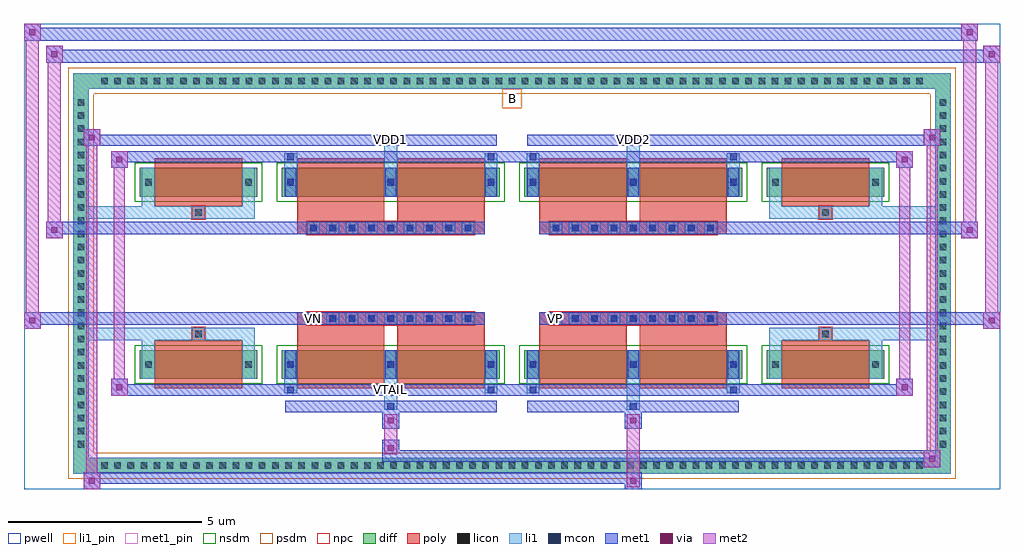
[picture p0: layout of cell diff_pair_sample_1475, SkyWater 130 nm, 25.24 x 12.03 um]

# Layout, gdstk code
import gdstk
lib = gdstk.Library(unit=1e-6, precision=5e-09)
def R(c, l, rs):  # rectangles x0, y0, x1, y1
    for r in rs: c.add(gdstk.rectangle(r[:2], r[2:], *l))
def A(c, l, x, y, w, h, nx, ny, dx, dy):  # array of equal rectangles
    R(c, l, [(x+i*dx, y+j*dy, x+i*dx+w, y+j*dy+h) for i in range(nx) for j in range(ny)])
def P(c, l, *ps):  # polygons
    for p in ps: c.add(gdstk.Polygon(p, *l))
pwell = (64, 44)
diff = (65, 20)
poly = (66, 20)
licon = (66, 44)
li1_pin = (67, 16)
li1 = (67, 20)
mcon = (67, 44)
met1_pin = (68, 16)
met1 = (68, 20)
via = (68, 44)
met2 = (69, 20)
nsdm = (93, 44)
psdm = (94, 20)
npc = (95, 20)

diff_pair_sample_1475 = lib.new_cell('diff_pair_sample_1475')
R(diff_pair_sample_1475, pwell, [(-12.62,-5.58,12.62,6.45), (-9.94,-3.77,-0.01,-0.805), (0.01,-3.77,9.94,-0.805), (-9.94,0.805,-0.01,3.77), (0.01,0.805,9.94,3.77)])
A(diff_pair_sample_1475, diff, -10.745, -5.18, 0.41, 0.41, 63, 2, 0.34, 9.95)
A(diff_pair_sample_1475, diff, -11.35, -4.625, 0.41, 0.41, 1, 27, 0, 0.34)
A(diff_pair_sample_1475, diff, 10.94, -4.625, 0.41, 0.41, 1, 27, 0, 0.34)
R(diff_pair_sample_1475, diff, [(-10.745,-5.18,10.745,-4.77), (-11.35,-4.625,-10.94,4.625), (10.94,-4.625,11.35,4.625), (-9.63,-2.725,-6.59,-1.985), (-5.95,-2.725,-0.32,-1.985), (0.32,-2.725,5.95,-1.985), (6.59,-2.725,9.63,-1.985), (-9.63,1.985,-6.59,2.725), (-5.95,1.985,-0.32,2.725), (0.32,1.985,5.95,2.725), (6.59,1.985,9.63,2.725), (-10.745,4.77,10.745,5.18)])
P(diff_pair_sample_1475, diff, [(11.35,5.18),(-11.35,5.18),(-11.35,-4.77),(-10.94,-4.77),(-10.94,4.77),(10.94,4.77),(10.94,-4.77),(-10.94,-4.77),(-11.35,-4.77),(-11.35,-5.18),(11.35,-5.18)])
A(diff_pair_sample_1475, poly, -5.3, -1.335, 0.33, 0.33, 9, 2, 0.5, 2.34)
A(diff_pair_sample_1475, poly, 0.97, -1.335, 0.33, 0.33, 9, 2, 0.5, 2.34)
R(diff_pair_sample_1475, poly, [(-9.24,-2.975,-6.98,-1.735), (-5.56,-2.975,-3.3,-1.735), (-2.97,-2.975,-0.71,-1.735), (0.71,-2.975,2.97,-1.735), (3.3,-2.975,5.56,-1.735), (6.98,-2.975,9.24,-1.735), (-8.275,-1.735,-7.945,-1.405), (-8.275,-1.735,-7.945,-1.405), (-5.56,-1.735,-3.3,-1.335), (-2.97,-1.735,-0.71,-1.335), (0.71,-1.735,2.97,-1.335), (3.3,-1.735,5.56,-1.335), (7.945,-1.735,8.275,-1.405), (7.945,-1.735,8.275,-1.405), (-5.56,-1.335,-0.71,-1.005), (0.71,-1.335,5.56,-1.005), (-5.56,1.005,-0.71,1.335), (0.71,1.005,5.56,1.335), (-5.56,1.335,-3.3,1.735), (-2.97,1.335,-0.71,1.735), (0.71,1.335,2.97,1.735), (3.3,1.335,5.56,1.735), (-8.275,1.405,-7.945,1.735), (-8.275,1.405,-7.945,1.735), (7.945,1.405,8.275,1.735), (7.945,1.405,8.275,1.735), (-9.24,1.735,-6.98,2.975), (-5.56,1.735,-3.3,2.975), (-2.97,1.735,-0.71,2.975), (0.71,1.735,2.97,2.975), (3.3,1.735,5.56,2.975), (6.98,1.735,9.24,2.975)])
A(diff_pair_sample_1475, licon, -10.625, -5.06, 0.17, 0.17, 63, 2, 0.34, 9.95)
A(diff_pair_sample_1475, licon, -11.23, -4.505, 0.17, 0.17, 1, 27, 0, 0.34)
A(diff_pair_sample_1475, licon, 11.06, -4.505, 0.17, 0.17, 1, 27, 0, 0.34)
A(diff_pair_sample_1475, licon, -5.81, -2.44, 0.17, 0.17, 3, 2, 2.59, 4.71)
A(diff_pair_sample_1475, licon, 0.46, -2.44, 0.17, 0.17, 3, 2, 2.59, 4.71)
A(diff_pair_sample_1475, licon, -5.22, -1.255, 0.17, 0.17, 9, 2, 0.5, 2.34)
A(diff_pair_sample_1475, licon, 1.05, -1.255, 0.17, 0.17, 9, 2, 0.5, 2.34)
R(diff_pair_sample_1475, licon, [(-9.49,-2.44,-9.32,-2.27), (-6.9,-2.44,-6.73,-2.27), (6.73,-2.44,6.9,-2.27), (9.32,-2.44,9.49,-2.27), (-8.195,-1.655,-8.025,-1.485), (8.025,-1.655,8.195,-1.485), (-8.195,1.485,-8.025,1.655), (8.025,1.485,8.195,1.655), (-9.49,2.27,-9.32,2.44), (-6.9,2.27,-6.73,2.44), (6.73,2.27,6.9,2.44), (9.32,2.27,9.49,2.44)])
R(diff_pair_sample_1475, li1_pin, [(-0.25,4.27,0.25,4.77)])
A(diff_pair_sample_1475, li1, -10.705, -5.14, 0.33, 0.33, 63, 2, 0.34, 9.95)
A(diff_pair_sample_1475, li1, -11.31, -4.585, 0.33, 0.33, 1, 27, 0, 0.34)
A(diff_pair_sample_1475, li1, 10.98, -4.585, 0.33, 0.33, 1, 27, 0, 0.34)
A(diff_pair_sample_1475, li1, -5.89, -2.725, 0.33, 0.74, 3, 2, 2.59, 4.71)
A(diff_pair_sample_1475, li1, 0.38, -2.725, 0.33, 0.74, 3, 2, 2.59, 4.71)
A(diff_pair_sample_1475, li1, -5.89, -2.52, 0.33, 0.33, 3, 2, 2.59, 4.71)
A(diff_pair_sample_1475, li1, 0.38, -2.52, 0.33, 0.33, 3, 2, 2.59, 4.71)
A(diff_pair_sample_1475, li1, -5.3, -1.335, 0.33, 0.33, 9, 2, 0.5, 2.34)
A(diff_pair_sample_1475, li1, 0.97, -1.335, 0.33, 0.33, 9, 2, 0.5, 2.34)
R(diff_pair_sample_1475, li1, [(-11.35,-5.18,-10.94,-4.77), (-11.35,-5.18,-10.94,-4.77), (-10.94,-5.18,10.94,-4.77), (10.94,-5.18,11.35,-4.77), (10.94,-5.18,11.35,-4.77), (-11.35,-4.77,-10.94,4.77), (10.94,-4.77,11.35,4.77), (-3.3,-3.53,-2.97,-2.725), (-3.22,-3.53,-3.05,-3.36), (2.97,-3.53,3.3,-2.725), (3.05,-3.53,3.22,-3.36), (-5.89,-3.1,-5.56,-2.725), (-5.81,-3.1,-5.64,-2.93), (-0.71,-3.1,-0.38,-2.725), (-0.63,-3.1,-0.46,-2.93), (0.38,-3.1,0.71,-2.725), (0.46,-3.1,0.63,-2.93), (5.56,-3.1,5.89,-2.725), (5.64,-3.1,5.81,-2.93), (-9.57,-2.725,-9.24,-1.985), (-6.98,-2.725,-6.65,-1.985), (6.65,-2.725,6.98,-1.985), (9.24,-2.725,9.57,-1.985), (-9.57,-2.52,-9.24,-2.19), (-6.98,-2.52,-6.65,-2.19), (6.65,-2.52,6.98,-2.19), (9.24,-2.52,9.57,-2.19), (-5.81,-2.44,-5.64,-2.27), (-5.81,-2.44,-5.64,-2.27), (-3.22,-2.44,-3.05,-2.27), (-3.22,-2.44,-3.05,-2.27), (-0.63,-2.44,-0.46,-2.27), (-0.63,-2.44,-0.46,-2.27), (0.46,-2.44,0.63,-2.27), (0.46,-2.44,0.63,-2.27), (3.05,-2.44,3.22,-2.27), (3.05,-2.44,3.22,-2.27), (5.64,-2.44,5.81,-2.27), (5.64,-2.44,5.81,-2.27), (-9.57,-1.985,-9.24,-1.405), (-6.98,-1.985,-6.65,-1.405), (6.65,-1.985,6.98,-1.405), (9.24,-1.985,9.57,-1.405), (-11.35,-1.735,-8.275,-1.405), (-9.57,-1.735,-8.275,-1.405), (-8.275,-1.735,-7.945,-1.405), (-7.945,-1.735,-6.65,-1.405), (6.65,-1.735,7.945,-1.405), (7.945,-1.735,8.275,-1.405), (7.945,-1.735,11.35,-1.405), (8.275,-1.735,9.57,-1.405), (-11.35,1.405,-8.275,1.735), (-9.57,1.405,-8.275,1.735), (-9.57,1.405,-9.24,1.985), (-8.275,1.405,-7.945,1.735), (-7.945,1.405,-6.65,1.735), (-6.98,1.405,-6.65,1.985), (6.65,1.405,7.945,1.735), (6.65,1.405,6.98,1.985), (7.945,1.405,8.275,1.735), (7.945,1.405,11.35,1.735), (8.275,1.405,9.57,1.735), (9.24,1.405,9.57,1.985), (-9.57,1.985,-9.24,2.725), (-6.98,1.985,-6.65,2.725), (6.65,1.985,6.98,2.725), (9.24,1.985,9.57,2.725), (-9.57,2.19,-9.24,2.52), (-6.98,2.19,-6.65,2.52), (6.65,2.19,6.98,2.52), (9.24,2.19,9.57,2.52), (-5.81,2.27,-5.64,2.44), (-5.81,2.27,-5.64,2.44), (-3.22,2.27,-3.05,2.44), (-3.22,2.27,-3.05,2.44), (-0.63,2.27,-0.46,2.44), (-0.63,2.27,-0.46,2.44), (0.46,2.27,0.63,2.44), (0.46,2.27,0.63,2.44), (3.05,2.27,3.22,2.44), (3.05,2.27,3.22,2.44), (5.64,2.27,5.81,2.44), (5.64,2.27,5.81,2.44), (-5.89,2.725,-5.56,3.1), (-3.3,2.725,-2.97,3.53), (-0.71,2.725,-0.38,3.1), (0.38,2.725,0.71,3.1), (2.97,2.725,3.3,3.53), (5.56,2.725,5.89,3.1), (-5.81,2.93,-5.64,3.1), (-0.63,2.93,-0.46,3.1), (0.46,2.93,0.63,3.1), (5.64,2.93,5.81,3.1), (-3.22,3.36,-3.05,3.53), (3.05,3.36,3.22,3.53), (-11.35,4.77,-10.94,5.18), (-11.35,4.77,-10.94,5.18), (-10.94,4.77,10.94,5.18), (10.94,4.77,11.35,5.18), (10.94,4.77,11.35,5.18)])
A(diff_pair_sample_1475, mcon, -5.81, -2.44, 0.17, 0.17, 3, 2, 2.59, 4.71)
A(diff_pair_sample_1475, mcon, 0.46, -2.44, 0.17, 0.17, 3, 2, 2.59, 4.71)
A(diff_pair_sample_1475, mcon, -5.22, -1.255, 0.17, 0.17, 9, 2, 0.5, 2.34)
A(diff_pair_sample_1475, mcon, 1.05, -1.255, 0.17, 0.17, 9, 2, 0.5, 2.34)
R(diff_pair_sample_1475, mcon, [(-3.22,-3.53,-3.05,-3.36), (3.05,-3.53,3.22,-3.36), (-5.81,-3.1,-5.64,-2.93), (-0.63,-3.1,-0.46,-2.93), (0.46,-3.1,0.63,-2.93), (5.64,-3.1,5.81,-2.93), (-5.81,2.93,-5.64,3.1), (-0.63,2.93,-0.46,3.1), (0.46,2.93,0.63,3.1), (5.64,2.93,5.81,3.1), (-3.22,3.36,-3.05,3.53), (3.05,3.36,3.22,3.53)])
R(diff_pair_sample_1475, met1_pin, [(-3.27,-3.14,-3,-2.87), (-5.27,-1.295,-5,-1.025), (1,-1.295,1.27,-1.025), (-3.27,3.32,-3,3.59), (3,3.32,3.27,3.59)])
A(diff_pair_sample_1475, met1, -5.87, -2.725, 0.29, 0.74, 3, 2, 2.59, 4.71)
A(diff_pair_sample_1475, met1, 0.4, -2.725, 0.29, 0.74, 3, 2, 2.59, 4.71)
A(diff_pair_sample_1475, met1, -5.87, -2.5, 0.29, 0.29, 3, 2, 2.59, 4.71)
A(diff_pair_sample_1475, met1, 0.4, -2.5, 0.29, 0.29, 3, 2, 2.59, 4.71)
A(diff_pair_sample_1475, met1, -5.28, -1.315, 0.29, 0.29, 9, 2, 0.5, 2.34)
A(diff_pair_sample_1475, met1, 0.99, -1.315, 0.29, 0.29, 9, 2, 0.5, 2.34)
R(diff_pair_sample_1475, met1, [(-11.08,-5.58,-10.65,-5.15), (2.92,-5.58,3.35,-5.15), (-11.08,-5.44,3.35,-5.15), (10.65,-5.01,11.08,-4.58), (-3.35,-4.87,11.08,-4.58), (-3.35,-4.73,-2.92,-4.3), (-3.35,-4.02,-2.92,-3.59), (2.92,-4.02,3.35,-3.59), (-5.87,-3.59,-0.4,-3.3), (-3.28,-3.59,-2.99,-3.3), (0.4,-3.59,5.87,-3.3), (2.99,-3.59,3.28,-3.3), (-10.37,-3.16,-9.94,-2.73), (-10.37,-3.16,-5.87,-2.87), (-5.87,-3.16,-5.58,-2.87), (-5.87,-3.16,-0.4,-2.87), (-0.69,-3.16,-0.4,-2.87), (-0.4,-3.16,0.4,-2.87), (0.4,-3.16,0.69,-2.87), (0.4,-3.16,5.87,-2.87), (5.58,-3.16,5.87,-2.87), (5.87,-3.16,10.37,-2.87), (9.94,-3.16,10.37,-2.73), (-12.62,-1.435,-12.19,-1.005), (12.19,-1.435,12.62,-1.005), (-12.62,-1.335,-0.71,-1.005), (-5.56,-1.335,-0.71,-1.005), (0.71,-1.335,5.56,-1.005), (0.71,-1.335,12.62,-1.005), (-12.05,0.905,-11.62,1.335), (11.62,0.905,12.05,1.335), (-12.05,1.005,-5.56,1.335), (-5.56,1.005,-0.71,1.335), (0.71,1.005,5.56,1.335), (5.56,1.005,12.05,1.335), (-10.37,2.73,-9.94,3.16), (9.94,2.73,10.37,3.16), (-10.37,2.87,-5.87,3.16), (-5.87,2.87,-5.58,3.16), (-5.87,2.87,-0.4,3.16), (-0.69,2.87,-0.4,3.16), (-0.4,2.87,0.4,3.16), (0.4,2.87,0.69,3.16), (0.4,2.87,5.87,3.16), (5.58,2.87,5.87,3.16), (5.87,2.87,10.37,3.16), (-11.08,3.3,-10.65,3.73), (-11.08,3.3,-5.87,3.59), (-5.87,3.3,-0.4,3.59), (-3.28,3.3,-2.99,3.59), (0.4,3.3,5.87,3.59), (2.99,3.3,3.28,3.59), (5.87,3.3,11.08,3.59), (10.65,3.3,11.08,3.73), (-12.05,5.45,-11.62,5.88), (-12.05,5.45,-9.94,5.78), (-9.94,5.45,9.94,5.78), (9.94,5.45,12.62,5.78), (12.19,5.45,12.62,5.88), (-12.62,6.02,-12.19,6.45), (-12.62,6.02,-9.94,6.35), (-9.94,6.02,9.94,6.35), (9.94,6.02,12.05,6.35), (11.62,6.02,12.05,6.45)])
R(diff_pair_sample_1475, via, [(-10.94,-5.44,-10.79,-5.29), (3.06,-5.44,3.21,-5.29), (10.79,-4.87,10.94,-4.72), (-3.21,-4.59,-3.06,-4.44), (-3.21,-3.88,-3.06,-3.73), (3.06,-3.88,3.21,-3.73), (-10.23,-3.02,-10.08,-2.87), (10.08,-3.02,10.23,-2.87), (-12.48,-1.295,-12.33,-1.145), (12.33,-1.295,12.48,-1.145), (-11.91,1.045,-11.76,1.195), (11.76,1.045,11.91,1.195), (-10.23,2.87,-10.08,3.02), (10.08,2.87,10.23,3.02), (-10.94,3.44,-10.79,3.59), (10.79,3.44,10.94,3.59), (-11.91,5.59,-11.76,5.74), (12.33,5.59,12.48,5.74), (-12.48,6.16,-12.33,6.31), (11.76,6.16,11.91,6.31)])
R(diff_pair_sample_1475, met2, [(-11.08,-5.58,-10.65,-5.15), (-11.01,-5.58,-10.72,3.73), (-10.72,-5.58,-10.65,-5.15), (-11.03,-5.53,-10.7,-5.2), (2.97,-5.53,3.3,-5.2), (2.97,-5.2,3.3,-3.97), (10.65,-5.01,11.08,-4.58), (10.72,-5.01,11.01,3.73), (11.01,-5.01,11.08,-4.58), (10.7,-4.96,11.03,-4.63), (-3.3,-4.68,-2.97,-4.35), (-3.3,-4.35,-2.97,-3.97), (-3.3,-3.97,-2.97,-3.64), (2.97,-3.97,3.3,-3.64), (-10.37,-3.16,-9.94,-2.73), (-10.3,-3.16,-10.01,3.16), (-10.01,-3.16,-9.94,-2.73), (9.94,-3.16,10.37,-2.73), (10.01,-3.16,10.3,3.16), (10.3,-3.16,10.37,-2.73), (-10.32,-3.11,-9.99,-2.78), (9.99,-3.11,10.32,-2.78), (-12.62,-1.435,-12.19,-1.005), (-12.57,-1.435,-12.24,6.45), (-12.24,-1.435,-12.19,-1.005), (12.19,-1.435,12.62,-1.005), (12.24,-1.435,12.57,5.88), (12.57,-1.435,12.62,-1.005), (-12.57,-1.385,-12.24,-1.055), (12.24,-1.385,12.57,-1.055), (-12.05,0.905,-11.62,1.335), (-12,0.905,-11.67,5.88), (-11.67,0.905,-11.62,1.335), (11.62,0.905,12.05,1.335), (11.67,0.905,12,6.45), (12,0.905,12.05,1.335), (-12,0.955,-11.67,1.285), (11.67,0.955,12,1.285), (-10.37,2.73,-9.94,3.16), (-10.01,2.73,-9.94,3.16), (9.94,2.73,10.37,3.16), (10.3,2.73,10.37,3.16), (-10.32,2.78,-9.99,3.11), (9.99,2.78,10.32,3.11), (-11.08,3.3,-10.65,3.73), (-10.72,3.3,-10.65,3.73), (10.65,3.3,11.08,3.73), (11.01,3.3,11.08,3.73), (-11.03,3.35,-10.7,3.68), (10.7,3.35,11.03,3.68), (-12.05,5.45,-11.62,5.88), (-11.67,5.45,-11.62,5.88), (12.19,5.45,12.62,5.88), (12.57,5.45,12.62,5.88), (-12,5.5,-11.67,5.83), (12.24,5.5,12.57,5.83), (-12.62,6.02,-12.19,6.45), (-12.24,6.02,-12.19,6.45), (11.62,6.02,12.05,6.45), (12,6.02,12.05,6.45), (-12.57,6.07,-12.24,6.4), (11.67,6.07,12,6.4)])
R(diff_pair_sample_1475, nsdm, [(-9.76,-2.855,-6.46,-1.855), (-6.08,-2.855,-0.19,-1.855), (0.19,-2.855,6.08,-1.855), (6.46,-2.855,9.76,-1.855), (-9.76,1.855,-6.46,2.855), (-6.08,1.855,-0.19,2.855), (0.19,1.855,6.08,2.855), (6.46,1.855,9.76,2.855)])
P(diff_pair_sample_1475, psdm, [(11.48,5.31),(-11.48,5.31),(-11.48,-4.64),(-10.81,-4.64),(-10.81,4.64),(10.81,4.64),(10.81,-4.64),(-10.81,-4.64),(-11.48,-4.64),(-11.48,-5.31),(11.48,-5.31)])
A(diff_pair_sample_1475, npc, -5.32, -1.355, 0.37, 0.37, 9, 2, 0.5, 2.34)
A(diff_pair_sample_1475, npc, 0.95, -1.355, 0.37, 0.37, 9, 2, 0.5, 2.34)
R(diff_pair_sample_1475, npc, [(-8.295,-1.755,-7.925,-1.385), (7.925,-1.755,8.295,-1.385), (-5.32,-1.355,-4.45,-0.985), (-5.32,-1.355,-4.45,-0.985), (-4.82,-1.355,-3.95,-0.985), (-4.82,-1.355,-3.95,-0.985), (-4.32,-1.355,-3.45,-0.985), (-4.32,-1.355,-3.45,-0.985), (-3.82,-1.355,-2.95,-0.985), (-3.82,-1.355,-2.95,-0.985), (-3.32,-1.355,-2.45,-0.985), (-3.32,-1.355,-2.45,-0.985), (-2.82,-1.355,-1.95,-0.985), (-2.82,-1.355,-1.95,-0.985), (-2.32,-1.355,-1.45,-0.985), (-2.32,-1.355,-1.45,-0.985), (-1.82,-1.355,-0.95,-0.985), (-1.82,-1.355,-0.95,-0.985), (0.95,-1.355,1.82,-0.985), (0.95,-1.355,1.82,-0.985), (1.45,-1.355,2.32,-0.985), (1.45,-1.355,2.32,-0.985), (1.95,-1.355,2.82,-0.985), (1.95,-1.355,2.82,-0.985), (2.45,-1.355,3.32,-0.985), (2.45,-1.355,3.32,-0.985), (2.95,-1.355,3.82,-0.985), (2.95,-1.355,3.82,-0.985), (3.45,-1.355,4.32,-0.985), (3.45,-1.355,4.32,-0.985), (3.95,-1.355,4.82,-0.985), (3.95,-1.355,4.82,-0.985), (4.45,-1.355,5.32,-0.985), (4.45,-1.355,5.32,-0.985), (-5.32,0.985,-4.45,1.355), (-5.32,0.985,-4.45,1.355), (-4.82,0.985,-3.95,1.355), (-4.82,0.985,-3.95,1.355), (-4.32,0.985,-3.45,1.355), (-4.32,0.985,-3.45,1.355), (-3.82,0.985,-2.95,1.355), (-3.82,0.985,-2.95,1.355), (-3.32,0.985,-2.45,1.355), (-3.32,0.985,-2.45,1.355), (-2.82,0.985,-1.95,1.355), (-2.82,0.985,-1.95,1.355), (-2.32,0.985,-1.45,1.355), (-2.32,0.985,-1.45,1.355), (-1.82,0.985,-0.95,1.355), (-1.82,0.985,-0.95,1.355), (0.95,0.985,1.82,1.355), (0.95,0.985,1.82,1.355), (1.45,0.985,2.32,1.355), (1.45,0.985,2.32,1.355), (1.95,0.985,2.82,1.355), (1.95,0.985,2.82,1.355), (2.45,0.985,3.32,1.355), (2.45,0.985,3.32,1.355), (2.95,0.985,3.82,1.355), (2.95,0.985,3.82,1.355), (3.45,0.985,4.32,1.355), (3.45,0.985,4.32,1.355), (3.95,0.985,4.82,1.355), (3.95,0.985,4.82,1.355), (4.45,0.985,5.32,1.355), (4.45,0.985,5.32,1.355), (-8.295,1.385,-7.925,1.755), (7.925,1.385,8.295,1.755)])
diff_pair_sample_1475.add(gdstk.Label('VTAIL', (-3.135,-3.005), layer=68, texttype=5))
diff_pair_sample_1475.add(gdstk.Label('VN', (-5.135,-1.16), layer=68, texttype=5))
diff_pair_sample_1475.add(gdstk.Label('VP', (1.135,-1.16), layer=68, texttype=5))
diff_pair_sample_1475.add(gdstk.Label('B', (0,4.52), layer=67, texttype=5))
diff_pair_sample_1475.add(gdstk.Label('VDD2', (3.135,3.455), layer=68, texttype=5))
diff_pair_sample_1475.add(gdstk.Label('VDD1', (-3.135,3.455), layer=68, texttype=5))

lib.write_gds('diff_pair_sample_1475.gds')
